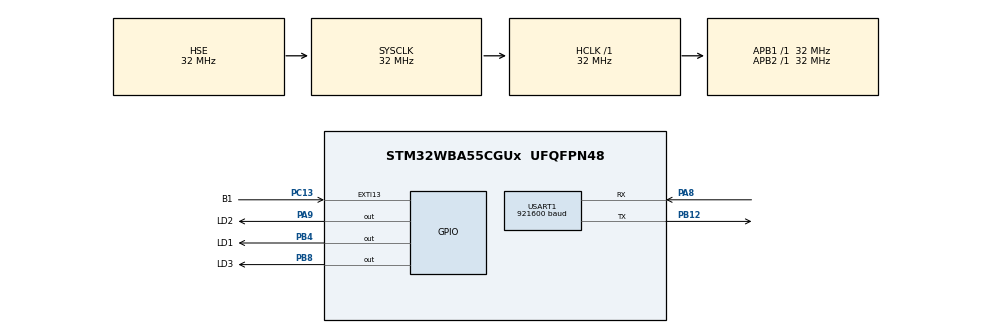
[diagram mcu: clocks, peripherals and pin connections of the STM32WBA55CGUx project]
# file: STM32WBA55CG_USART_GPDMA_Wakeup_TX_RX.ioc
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CORTEX_M33_NS.userName=CORTEX_M33
GPDMA1.CIRCULARMODE_GPDMACH2=ENABLE
GPDMA1.DESTINC_GPDMACH2=DMA_DINC_INCREMENTED
GPDMA1.DIRECTION_GPDMACH3=DMA_MEMORY_TO_PERIPH
GPDMA1.IPHANDLE_GPDMACH2-SIMPLEREQUEST_GPDMACH2=__NULL
GPDMA1.IPHANDLE_GPDMACH3-SIMPLEREQUEST_GPDMACH3=__NULL
GPDMA1.PRIORITY_GPDMACH3=DMA_LOW_PRIORITY_HIGH_WEIGHT
GPDMA1.REQUEST_GPDMACH2=GPDMA1_REQUEST_USART1_RX
GPDMA1.REQUEST_GPDMACH3=GPDMA1_REQUEST_USART1_TX
GPDMA1.SRCINC_GPDMACH3=DMA_SINC_INCREMENTED
LPTIM1.ClockPrescaler=LPTIM_PRESCALER_DIV128
LPTIM1.Period=62499
LPTIM1.RepetitionCounter=0
Mcu.Family=STM32WBA
Mcu.Name=STM32WBA55CGUx
Mcu.Package=UFQFPN48
NVIC.EXTI13_IRQn=true\:0\:0\:false\:false\:true\:true\:true\:true
NVIC.GPDMA1_Channel2_IRQn=true\:0\:0\:false\:false\:true\:false\:true\:true
NVIC.GPDMA1_Channel3_IRQn=true\:0\:0\:false\:false\:true\:false\:true\:true
NVIC.PriorityGroup=NVIC_PRIORITYGROUP_4
NVIC.USART1_IRQn=true\:0\:0\:false\:false\:true\:false\:true\:true
OSC_IN.Mode=HSE-External-Oscillator
OSC_IN.Signal=RCC_OSC_IN
OSC_OUT.Mode=HSE-External-Oscillator
OSC_OUT.Signal=RCC_OSC_OUT
PA8.GPIO_Speed=GPIO_SPEED_FREQ_HIGH
PA8.Mode=Asynchronous
PA8.Signal=USART1_RX
PA9.GPIO_Label=LD2
PA9.Signal=GPIO_Output
PB12.GPIO_Speed=GPIO_SPEED_FREQ_HIGH
PB12.Mode=Asynchronous
PB12.Signal=USART1_TX
PB4\ (NJTRST).GPIO_Label=LD1
PB4\ (NJTRST).Signal=GPIO_Output
PB8.GPIO_Label=LD3
PB8.Signal=GPIO_Output
PC13.GPIO_Label=B1
PC13.GPIO_ModeDefaultEXTI=GPIO_MODE_IT_FALLING
PC13.GPIO_PuPd=GPIO_PULLUP
PC13.Signal=GPXTI13
ProjectManager.HeapSize=0x200
ProjectManager.StackSize=0x400
ProjectManager.TargetToolchain=STM32CubeIDE
RCC.ADCFreq_Value=32000000
RCC.AHBFreq_Value=32000000
RCC.APB1Freq_Value=32000000
RCC.APB1TimFreq_Value=32000000
RCC.APB2Freq_Value=32000000
RCC.APB2TimFreq_Value=32000000
RCC.CortexFreq_Value=4000000
RCC.HCLKFreq_Value=32000000
RCC.HSE_VALUE=32000000
RCC.HSI_VALUE=16000000
RCC.LPTIM1CLockSelectionVirtual=RCC_LPTIM1CLKSOURCE_HSI
RCC.LSE_VALUE=32768
RCC.LSI1_VALUE=32000
RCC.LSI2_VALUE=32000
RCC.PLLFRACN=0
RCC.PLLN=8
RCC.PLLSourceVirtual=RCC_PLLSOURCE_HSE
RCC.PWR_Regulator_Voltage_Scale=PWR_REGULATOR_VOLTAGE_SCALE1
RCC.SYSCLKFreq_VALUE=32000000
RCC.SYSCLKSourceVirtual=RCC_SYSCLKSOURCE_HSE
RCC.SupplySource=PWR_SMPS_SUPPLY
RCC.USART1CLockSelectionVirtual=RCC_USART1CLKSOURCE_HSI
RCC.VCOOutputFreq_Value=256000000
USART1.AutonomousMode=AUTONOMOUS_MODE_ENABLE
USART1.BaudRate=921600
USART1.DataSize=10
USART1.IdleFrame=UART_IDLE_FRAME_ENABLE
USART1.TriggerPolarity=UART_TRIG_POLARITY_RISING
USART1.TriggerSelection=UART_LPTIM1_OUT_TRG
USART1.VirtualMode-Asynchronous=VM_ASYNC
VP_CORTEX_M33_NS_VS_Hclk.Mode=Hclk_Mode
VP_GPDMA1_VS_GPDMACH2.Mode=SIMPLEREQUEST_GPDMACH2
VP_GPDMA1_VS_GPDMACH3.Mode=SIMPLEREQUEST_GPDMACH3
VP_ICACHE_VS_ICACHE.Mode=DirectMappedCache
VP_LPTIM1_VS_LPTIM_counterModeInternalClock.Mode=Counts__internal_clock_event_00
VP_MEMORYMAP_VS_MEMORYMAP.Mode=CurAppReg
VP_PWR_VS_SECSignals.Mode=Security/Privilege
board=custom

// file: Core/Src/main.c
/* USER CODE BEGIN Header */
/**
  ******************************************************************************
  * @file           : main.c
  * @brief          : Main program body
  ******************************************************************************
  * @attention
  *
  * Copyright (c) 2026 STMicroelectronics.
  * All rights reserved.
  *
  * This software is licensed under terms that can be found in the LICENSE file
  * in the root directory of this software component.
  * If no LICENSE file comes with this software, it is provided AS-IS.
  *
  ******************************************************************************
  */
/* USER CODE END Header */
#include "main.h"

/* USER CODE BEGIN Includes */
#include <string.h>

/* USER CODE END Includes */

/* USER CODE BEGIN PD */
#define RX_BUF_SIZE 10
#define TX_BUF_SIZE 10

/* USER CODE END PD */

LPTIM_HandleTypeDef hlptim1;

UART_HandleTypeDef huart1;
DMA_HandleTypeDef handle_GPDMA1_Channel3;
DMA_NodeTypeDef Node_GPDMA1_Channel2;
DMA_QListTypeDef List_GPDMA1_Channel2;
DMA_HandleTypeDef handle_GPDMA1_Channel2;

/* USER CODE BEGIN PV */
extern UART_HandleTypeDef huart1;

static uint8_t rxBuffer[RX_BUF_SIZE];   // DMA RX buffer (GPDMA1 CH2)
static uint8_t txBuffer[TX_BUF_SIZE];   // DMA TX buffer (GPDMA1 CH3)

static volatile uint8_t txBusy = 0;     // 1 while a TX DMA transfer is ongoing
volatile int g_stop_flag = 0;

/* USER CODE END PV */

void SystemClock_Config(void);
static void MX_GPIO_Init(void);
static void MX_GPDMA1_Init(void);
static void MX_USART1_UART_Init(void);
static void MX_ICACHE_Init(void);
static void MX_LPTIM1_Init(void);
/* USER CODE BEGIN PFP */
static void Enter_Stop1_Mode(void);
static void Turn_Off_LEDs(void);

/* USER CODE END PFP */

int main(void)
{

  /* MCU Configuration--------------------------------------------------------*/

  /* Reset of all peripherals, Initializes the Flash interface and the Systick. */
  HAL_Init();

  /* Configure the system clock */
  SystemClock_Config();

  /* Initialize all configured peripherals */
  MX_GPIO_Init();
  MX_GPDMA1_Init();
  MX_USART1_UART_Init();
  MX_ICACHE_Init();
  MX_LPTIM1_Init();
  /* USER CODE BEGIN 2 */

  /* Enable Power Clock */
  __HAL_RCC_PWR_CLK_ENABLE();

  if (HAL_LPTIM_Counter_Start_IT(&hlptim1) != HAL_OK)
  {
    Error_Handler();
  }

  /* Wait for USER push-button press to start transfer */
  while (g_stop_flag == 0){ }

  // Start RX in DMA+Idle mode (uses GPDMA1 CH2 in circular mode, autonomous)
   if (HAL_UARTEx_ReceiveToIdle_DMA(&huart1, rxBuffer, RX_BUF_SIZE) != HAL_OK)
   {
     Error_Handler();
   }

   // Disable HT DMA interrupt
   __HAL_DMA_DISABLE_IT(&handle_GPDMA1_Channel2, DMA_IT_HT);

   // Let CPU stop; USART1 + GPDMA continue to work in autonomous domain
   Enter_Stop1_Mode();

  /* USER CODE END 2 */

  /* Infinite loop */
  while (1)
  {

  }
}

void SystemClock_Config(void)
{
  RCC_OscInitTypeDef RCC_OscInitStruct = {0};
  RCC_ClkInitTypeDef RCC_ClkInitStruct = {0};

  /** Supply configuration update enable
  */
  HAL_PWREx_ConfigSupply(PWR_SMPS_SUPPLY);

  /** Configure the main internal regulator output voltage
  */
  if (HAL_PWREx_ControlVoltageScaling(PWR_REGULATOR_VOLTAGE_SCALE1) != HAL_OK)
  {
    Error_Handler();
  }

  /** Initializes the CPU, AHB and APB busses clocks
  */
  RCC_OscInitStruct.OscillatorType = RCC_OSCILLATORTYPE_HSI|RCC_OSCILLATORTYPE_HSE;
  RCC_OscInitStruct.HSEState = RCC_HSE_ON;
  RCC_OscInitStruct.HSEDiv = RCC_HSE_DIV1;
  RCC_OscInitStruct.HSIState = RCC_HSI_ON;
  RCC_OscInitStruct.HSICalibrationValue = RCC_HSICALIBRATION_DEFAULT;
  RCC_OscInitStruct.PLL1.PLLState = RCC_PLL_NONE;
  if (HAL_RCC_OscConfig(&RCC_OscInitStruct) != HAL_OK)
  {
    Error_Handler();
  }

  /** Initializes the CPU, AHB and APB busses clocks
  */
  RCC_ClkInitStruct.ClockType = RCC_CLOCKTYPE_HCLK|RCC_CLOCKTYPE_SYSCLK
                              |RCC_CLOCKTYPE_PCLK1|RCC_CLOCKTYPE_PCLK2
                              |RCC_CLOCKTYPE_PCLK7|RCC_CLOCKTYPE_HCLK5;
  RCC_ClkInitStruct.SYSCLKSource = RCC_SYSCLKSOURCE_HSE;
  RCC_ClkInitStruct.AHBCLKDivider = RCC_SYSCLK_DIV1;
  RCC_ClkInitStruct.APB1CLKDivider = RCC_HCLK_DIV1;
  RCC_ClkInitStruct.APB2CLKDivider = RCC_HCLK_DIV1;
  RCC_ClkInitStruct.APB7CLKDivider = RCC_HCLK_DIV1;
  RCC_ClkInitStruct.AHB5_PLL1_CLKDivider = RCC_SYSCLK_PLL1_DIV1;
  RCC_ClkInitStruct.AHB5_HSEHSI_CLKDivider = RCC_SYSCLK_HSEHSI_DIV1;

  if (HAL_RCC_ClockConfig(&RCC_ClkInitStruct, FLASH_LATENCY_0) != HAL_OK)
  {
    Error_Handler();
  }
}

static void MX_GPDMA1_Init(void)
{

  /* Peripheral clock enable */
  __HAL_RCC_GPDMA1_CLK_ENABLE();

  /* GPDMA1 interrupt Init */
    HAL_NVIC_SetPriority(GPDMA1_Channel2_IRQn, 0, 0);
    HAL_NVIC_EnableIRQ(GPDMA1_Channel2_IRQn);
    HAL_NVIC_SetPriority(GPDMA1_Channel3_IRQn, 0, 0);
    HAL_NVIC_EnableIRQ(GPDMA1_Channel3_IRQn);

}

static void MX_ICACHE_Init(void)
{

  /** Enable instruction cache in 1-way (direct mapped cache)
  */
  if (HAL_ICACHE_ConfigAssociativityMode(ICACHE_1WAY) != HAL_OK)
  {
    Error_Handler();
  }
  if (HAL_ICACHE_Enable() != HAL_OK)
  {
    Error_Handler();
  }

}

static void MX_LPTIM1_Init(void)
{

  hlptim1.Instance = LPTIM1;
  hlptim1.Init.Clock.Source = LPTIM_CLOCKSOURCE_APBCLOCK_LPOSC;
  hlptim1.Init.Clock.Prescaler = LPTIM_PRESCALER_DIV1;
  hlptim1.Init.Trigger.Source = LPTIM_TRIGSOURCE_SOFTWARE;
  hlptim1.Init.Period = 1000;
  hlptim1.Init.UpdateMode = LPTIM_UPDATE_IMMEDIATE;
  hlptim1.Init.CounterSource = LPTIM_COUNTERSOURCE_INTERNAL;
  hlptim1.Init.Input1Source = LPTIM_INPUT1SOURCE_GPIO;
  hlptim1.Init.Input2Source = LPTIM_INPUT2SOURCE_GPIO;
  hlptim1.Init.RepetitionCounter = 0;
  if (HAL_LPTIM_Init(&hlptim1) != HAL_OK)
  {
    Error_Handler();
  }

}

static void MX_USART1_UART_Init(void)
{

  UART_AutonomousModeConfTypeDef sConfigUart1 = {0};

  huart1.Instance = USART1;
  huart1.Init.BaudRate = 921600;
  huart1.Init.WordLength = UART_WORDLENGTH_8B;
  huart1.Init.StopBits = UART_STOPBITS_1;
  huart1.Init.Parity = UART_PARITY_NONE;
  huart1.Init.Mode = UART_MODE_TX_RX;
  huart1.Init.HwFlowCtl = UART_HWCONTROL_NONE;
  huart1.Init.OverSampling = UART_OVERSAMPLING_16;
  huart1.Init.OneBitSampling = UART_ONE_BIT_SAMPLE_DISABLE;
  huart1.Init.ClockPrescaler = UART_PRESCALER_DIV1;
  huart1.AdvancedInit.AdvFeatureInit = UART_ADVFEATURE_NO_INIT;
  if (HAL_UART_Init(&huart1) != HAL_OK)
  {
    Error_Handler();
  }
  if (HAL_UARTEx_SetTxFifoThreshold(&huart1, UART_TXFIFO_THRESHOLD_1_8) != HAL_OK)
  {
    Error_Handler();
  }
  if (HAL_UARTEx_SetRxFifoThreshold(&huart1, UART_RXFIFO_THRESHOLD_1_8) != HAL_OK)
  {
    Error_Handler();
  }
  if (HAL_UARTEx_DisableFifoMode(&huart1) != HAL_OK)
  {
    Error_Handler();
  }
  sConfigUart1.AutonomousModeState = UART_AUTONOMOUS_MODE_ENABLE;
  sConfigUart1.TriggerSelection = UART_LPTIM1_OUT_TRG;
  sConfigUart1.TriggerPolarity = UART_TRIG_POLARITY_RISING;
  sConfigUart1.DataSize = 10;
  sConfigUart1.IdleFrame = UART_IDLE_FRAME_ENABLE;
  if (HAL_UARTEx_SetConfigAutonomousMode(&huart1, &sConfigUart1) != HAL_OK)
  {
    Error_Handler();
  }

}

static void MX_GPIO_Init(void)
{
  GPIO_InitTypeDef GPIO_InitStruct = {0};

  /* GPIO Ports Clock Enable */
  __HAL_RCC_GPIOB_CLK_ENABLE();
  __HAL_RCC_GPIOA_CLK_ENABLE();
  __HAL_RCC_GPIOC_CLK_ENABLE();

  /*Configure GPIO pin Output Level */
  HAL_GPIO_WritePin(GPIOB, LD3_Pin|LD1_Pin, GPIO_PIN_RESET);

  /*Configure GPIO pin Output Level */
  HAL_GPIO_WritePin(LD2_GPIO_Port, LD2_Pin, GPIO_PIN_RESET);

  /*Configure GPIO pins : LD3_Pin LD1_Pin */
  GPIO_InitStruct.Pin = LD3_Pin|LD1_Pin;
  GPIO_InitStruct.Mode = GPIO_MODE_OUTPUT_PP;
  GPIO_InitStruct.Pull = GPIO_NOPULL;
  GPIO_InitStruct.Speed = GPIO_SPEED_FREQ_LOW;
  HAL_GPIO_Init(GPIOB, &GPIO_InitStruct);

  /*Configure GPIO pin : B1_Pin */
  GPIO_InitStruct.Pin = B1_Pin;
  GPIO_InitStruct.Mode = GPIO_MODE_IT_FALLING;
  GPIO_InitStruct.Pull = GPIO_PULLUP;
  HAL_GPIO_Init(B1_GPIO_Port, &GPIO_InitStruct);

  /*Configure GPIO pin : LD2_Pin */
  GPIO_InitStruct.Pin = LD2_Pin;
  GPIO_InitStruct.Mode = GPIO_MODE_OUTPUT_PP;
  GPIO_InitStruct.Pull = GPIO_NOPULL;
  GPIO_InitStruct.Speed = GPIO_SPEED_FREQ_LOW;
  HAL_GPIO_Init(LD2_GPIO_Port, &GPIO_InitStruct);

  /* EXTI interrupt init*/
  HAL_NVIC_SetPriority(EXTI13_IRQn, 0, 0);
  HAL_NVIC_EnableIRQ(EXTI13_IRQn);

}

/* USER CODE BEGIN 4 */
static void Enter_Stop1_Mode(void)
{
	/* Insert 1 second delay */
	HAL_Delay(1000);
	Turn_Off_LEDs();

	/* Clear All wakeup flag */
	__HAL_PWR_CLEAR_FLAG(PWR_WAKEUP_ALL_FLAG);

	HAL_GPIO_WritePin(LD1_GPIO_Port, LD1_Pin, GPIO_PIN_RESET);

    /* Deactivate Debug of Stop/Standby mode */
    //CLEAR_BIT(DBGMCU->SCR, DBGMCU_SCR_DBG_STOP);
    //CLEAR_BIT(DBGMCU->SCR, DBGMCU_SCR_DBG_STANDBY);

    /* Suspend SysTick to prevent it from waking up the MCU */
    HAL_SuspendTick();

	/* Enter STOP 1 mode */
	HAL_PWR_EnterSTOPMode(PWR_LOWPOWERREGULATOR_ON, PWR_STOPENTRY_WFI);

	/* Resume SysTick upon wake-up */
	HAL_ResumeTick();

	/* Configure system clock after wake-up from STOP: enable HSE, PLL and select
	PLL as system clock source (HSE and PLL are disabled in STOP mode) */
	SystemClock_Config();
}

void HAL_UARTEx_RxEventCallback(UART_HandleTypeDef *huart, uint16_t Size)
{
  if (huart->Instance == USART1)
  {
    // Limit Size to TX buffer capacity
    if (Size > TX_BUF_SIZE)
    {
      Size = TX_BUF_SIZE;
    }

    // Simple echo: copy received data to TX buffer and send via DMA
    if ((Size > 0U) && (txBusy == 0U))
    {
      memcpy(txBuffer, rxBuffer, Size);

      txBusy = 1U;
      if (HAL_UART_Transmit_DMA(&huart1, txBuffer, Size) != HAL_OK)
      {
        // If something goes wrong, release the flag so we can try again
        txBusy = 0U;
      }
    }

    // Note:
    // - RX DMA remains enabled by HAL_UARTEx_ReceiveToIdle_DMA
    // - Incoming data continues to fill rxBuffer in circular mode
    Turn_Off_LEDs();

      if (memcmp(rxBuffer, txBuffer, Size) == 0)
      {
        // Match: turn LD1 ON, LD3 OFF
        HAL_GPIO_WritePin(LD2_GPIO_Port, LD2_Pin, GPIO_PIN_RESET);
      }
      else
      {
        // Mismatch: turn LD3 ON, LD1 OFF
        HAL_GPIO_WritePin(LD3_GPIO_Port, LD3_Pin, GPIO_PIN_RESET);
      }
  }
}

/**
  * @brief  UART TX complete callback.
  *         Called when a DMA TX transfer ends.
  */
void HAL_UART_TxCpltCallback(UART_HandleTypeDef *huart)
{
  if (huart->Instance == USART1)
  {
    txBusy = 0U;
  }
}

/**
  * @brief  UART error callback
  */
void HAL_UART_ErrorCallback(UART_HandleTypeDef *huart)
{
  if (huart->Instance == USART1)
  {
    // Place here any error handling
  }
}

static void Turn_Off_LEDs(void)
{
	HAL_GPIO_WritePin(LD1_GPIO_Port, LD1_Pin, GPIO_PIN_SET); // turn off LED1
	HAL_GPIO_WritePin(LD2_GPIO_Port, LD2_Pin, GPIO_PIN_SET); // turn off LED2
	HAL_GPIO_WritePin(LD3_GPIO_Port, LD3_Pin, GPIO_PIN_SET); // turn off LED3
}

void HAL_GPIO_EXTI_Falling_Callback(uint16_t GPIO_Pin)
{
  if (GPIO_Pin == B1_Pin)
  {
    g_stop_flag = 1;
  }
}

void HAL_LPTIM_AutoReloadMatchCallback(LPTIM_HandleTypeDef *hlptim)
{
  if (hlptim->Instance == LPTIM1)
  {
    // This is your "pulse" event once per second after you called StartOnePulse_1s()
    HAL_GPIO_TogglePin(LD2_GPIO_Port, LD2_Pin);

    // Optional: stop the counter explicitly (one-shot)
    HAL_LPTIM_Counter_Stop_IT(hlptim);
  }
}
/* USER CODE END 4 */

void Error_Handler(void)
{
  __disable_irq();
  while (1)
  {
  }
}
